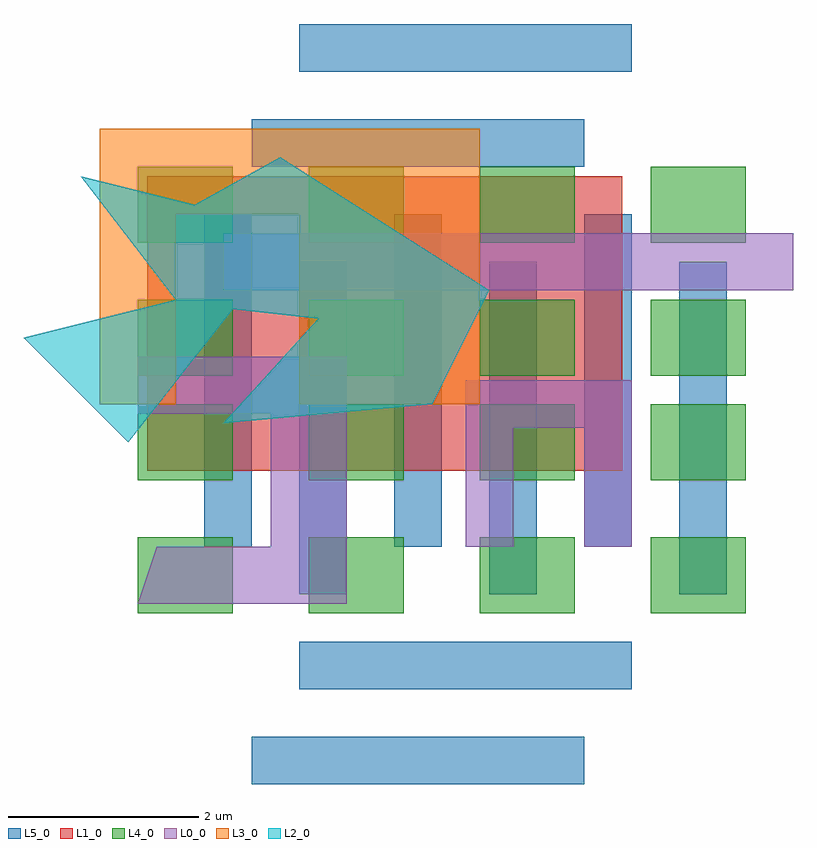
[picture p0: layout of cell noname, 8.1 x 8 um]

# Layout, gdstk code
from math import pi, radians
import gdstk
lib = gdstk.Library(unit=1e-6, precision=1e-09)
def R(c, l, rs):  # rectangles x0, y0, x1, y1
    for r in rs: c.add(gdstk.rectangle(r[:2], r[2:], *l))
def P(c, l, *ps):  # polygons
    for p in ps: c.add(gdstk.Polygon(p, *l))
L0_0 = (0, 0)
L1_0 = (1, 0)
L2_0 = (2, 0)
L3_0 = (3, 0)
L4_0 = (4, 0)
L5_0 = (5, 0)

grouped_2 = lib.new_cell('grouped_2')
R(grouped_2, L5_0, [(1,0,1.5,3.5), (0,0.5,0.5,4)])
grouped_2.add(gdstk.Label('Generated with the LayoutEditor (This message will NOT added in any commercial version of the LayoutEditor.)', (0,4), layer=5, texttype=13476))
grouped_2.add(gdstk.Label('Generated with the LayoutEditor (This message will NOT added in any commercial version of the LayoutEditor.)', (0,4), layer=5, texttype=13476))
grouped_2.add(gdstk.Label('Generated with the LayoutEditor (This message will NOT added in any commercial version of the LayoutEditor.)', (0,4), layer=5, texttype=13476))

grouped_1 = lib.new_cell('grouped_1')
R(grouped_1, L4_0, [(0,0,1,0.8), (1.8,0,2.8,0.8), (0,1.4,1,2.2), (1.8,1.4,2.8,2.2)])
grouped_1.add(gdstk.Label('Generated with the LayoutEditor (This message will NOT added in any commercial version of the LayoutEditor.)', (0,2.2), layer=4, texttype=13476))
grouped_1.add(gdstk.Label('Generated with the LayoutEditor (This message will NOT added in any commercial version of the LayoutEditor.)', (0,2.2), layer=4, texttype=13476))
grouped_1.add(gdstk.Label('Generated with the LayoutEditor (This message will NOT added in any commercial version of the LayoutEditor.)', (0,2.2), layer=4, texttype=13476))

noname = lib.new_cell('noname')
R(noname, L0_0, [(-0.3,-2.3,5.7,-1.7)])
P(noname, L0_0, [(2.25,-5),(2.75,-5),(2.75,-3.75),(3.5,-3.75),(3.5,-5),(4,-5),(4,-3.25),(2.25,-3.25)],
  [(-1.2,-5.6),(1,-5.6),(1,-3),(-1.2,-3),(-1.2,-3.6),(0.2,-3.6),(0.2,-5),(-1,-5)])
R(noname, L1_0, [(-1.1,-4.2,3.9,-1.1)])
P(noname, L2_0, [(-2.4,-2.8),(-1.3,-3.9),(-0.2,-2.5),(0.7,-2.6),(-0.3,-3.7),(1.9,-3.5),(2.5,-2.3),(0.3,-0.9),(-0.6,-1.4),(-1.8,-1.1),(-0.8,-2.4)])
P(noname, L3_0, [(-1.6,-0.6),(-1.6,-3.5),(-0.8,-3.5),(-0.8,-1.5),(0.5,-1.5),(0.5,-3.5),(2.4,-3.5),(2.4,-0.6)])
noname.add(gdstk.Reference(grouped_2, (4,-1), rotation=pi/2))
noname.add(gdstk.Reference(grouped_2, (4,-7.5), rotation=pi/2))
noname.add(gdstk.Reference(grouped_1, (-1.2,-3.2)))
noname.add(gdstk.Reference(grouped_1, (-1.2,-5.7)))
noname.add(gdstk.Reference(grouped_1, (2.4,-5.7)))
noname.add(gdstk.Reference(grouped_1, (2.4,-3.2)))
noname.add(gdstk.Reference(grouped_2, (-0.5,-5.5)))
noname.add(gdstk.Reference(grouped_2, (1.5,-5.5)))
noname.add(gdstk.Reference(grouped_2, (3.5,-5.5)))

lib.write_gds('noname.gds')
